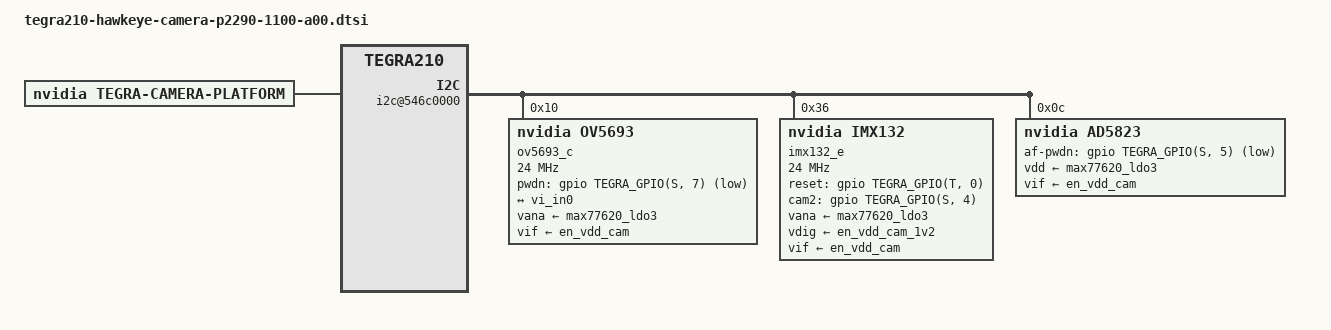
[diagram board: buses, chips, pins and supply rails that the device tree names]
/*
 * tegra210-hawkeye-camera-p2290-1100-a00.dtsi: Hawkeye camera dtsi.
 *
 * Copyright (c) 2014-2016, NVIDIA CORPORATION.  All rights reserved.
 *
 * This program is free software; you can redistribute it and/or modify
 * it under the terms of the GNU General Public License as published by
 * the Free Software Foundation; version 2 of the License.
 *
 * This program is distributed in the hope that it will be useful, but WITHOUT
 * ANY WARRANTY; without even the implied warranty of MERCHANTABILITY or
 * FITNESS FOR A PARTICULAR PURPOSE.  See the GNU General Public License for
 * more details.
 */

#include <dt-bindings/media/camera.h>

/ {
	host1x {
		vi {
			num-channels = <1>;
			ports {
				#address-cells = <1>;
				#size-cells = <0>;
				port@0 {
					reg = <0>;
					vi_in0: endpoint {
						csi-port = <2>;
						bus-width = <2>;
						remote-endpoint = <&ov5693_out0>;
					};
				};
			};
		};

		i2c@546c0000 {
			status = "okay";
			#address-cells = <1>;
			#size-cells = <0>;
			ov5693_c@10 {
				compatible = "nvidia,ov5693";
				/* I2C device address */
				reg = <0x10>;

				/* Physical dimensions of sensor */
				physical_w = "3.674";
				physical_h = "2.738";

				/* Sensor Model */
				sensor_model ="ov5693";

				/* Define any required hw resources needed by driver */
				/* ie. clocks, io pins, power sources */
				avdd-reg = "vana";
				iovdd-reg = "vif";


				/* Define any required hw resources needed by driver */
				/* ie. clocks, io pins, power sources */
				/* mclk-index indicates the index of the */
				/* mclk-name with in the clock-names array */

				clocks = <&tegra_car TEGRA210_CLK_ID_CLK_OUT_3>;
				clock-names = "mclk";
				clock-frequency = <24000000>;

				mclk = "cam_mclk1";
				pwdn-gpios = <&gpio TEGRA_GPIO(S, 7) GPIO_ACTIVE_LOW>;
				vana-supply = <&max77620_ldo3>;
				vif-supply = <&en_vdd_cam>;
				has-eeprom = <1>;

				/* Defines number of frames to be dropped by driver internally after applying */
				/* sensor crop settings. Some sensors send corrupt frames after applying */
				/* crop co-ordinates */
				post_crop_frame_drop = "0";

				/**
				* A modeX node is required to support v4l2 driver
				* implementation with NVIDIA camera software stack
				*
				* mclk_khz = "";
				* Standard MIPI driving clock, typically 24MHz
				*
				* num_lanes = "";
				* Number of lane channels sensor is programmed to output
				*
				* tegra_sinterface = "";
				* The base tegra serial interface lanes are connected to
				*
				* discontinuous_clk = "";
				* The sensor is programmed to use a discontinuous clock on MIPI lanes
				*
				* dpcm_enable = "true";
				* The sensor is programmed to use a DPCM modes
				*
				* cil_settletime = "";
				* MIPI lane settle time value.
				* A "0" value attempts to autocalibrate based on mclk_multiplier
				*
				*
				*
				*
				* active_w = "";
				* Pixel active region width
				*
				* active_h = "";
				* Pixel active region height
				*
				* pixel_t = "";
				* The sensor readout pixel pattern
				* For eg - 10 bit bayer having 'bggr' pixel pattern has value "bayer_bggr"
				*          12 bit bayer having 'bggr' pixel pattern has value "bayer_bggr12"
				*          14 bit bayer having 'bggr' pixel pattern has value "bayer_bggr14"
				*
				* readout_orientation = "0";
				* Based on camera module orientation.
				* Only change readout_orientation if you specifically
				* Program a different readout order for this mode
				*
				* line_length = "";
				* Pixel line length (width) for sensor mode.
				* This is used to calibrate features in our camera stack.
				*
				* mclk_multiplier = "";
				* Multiplier to MCLK to help time hardware capture sequence
				* TODO: Assign to PLL_Multiplier as well until fixed in core
				*
				* pix_clk_hz = "";
				* Sensor pixel clock used for calculations like exposure and framerate
				*
				*
				*
				*
				* inherent_gain = "";
				* Gain obtained inherently from mode (ie. pixel binning)
				*
				* min_gain_val = ""; (floor to 6 decimal places)
				* max_gain_val = ""; (floor to 6 decimal places)
				* Gain limits for mode
				*
				* min_exp_time = ""; (ceil to integer)
				* max_exp_time = ""; (ceil to integer)
				* Exposure Time limits for mode (us)
				*
				*
				* min_hdr_ratio = "";
				* max_hdr_ratio = "";
				* HDR Ratio limits for mode
				*
				* min_framerate = "";
				* max_framerate = "";
				* Framerate limits for mode (fps)
				*
				* embedded_metadata_height = "";
				* Sensor embedded metadata height in units of rows.
				* If sensor does not support embedded metadata value should be 0.
				*/
				mode0 { // OV5693_MODE_2592X1944
					mclk_khz = "24000";
					num_lanes = "2";
					tegra_sinterface = "serial_c";
					discontinuous_clk = "no";
					dpcm_enable = "false";
					cil_settletime = "0";

					active_w = "2592";
					active_h = "1944";
					pixel_t = "bayer_bggr";
					readout_orientation = "90";
					line_length = "2688";
					inherent_gain = "1";
					mclk_multiplier = "17.0";
					pix_clk_hz = "160000000";

					min_gain_val = "1.0";
					max_gain_val = "16";
					min_hdr_ratio = "1";
					max_hdr_ratio = "64";
					min_framerate = "1.816577";
					max_framerate = "30";
					min_exp_time = "34";
					max_exp_time = "550385";
					embedded_metadata_height = "0";
				};

				mode1 { //OV5693_MODE_2592X1458
					mclk_khz = "24000";
					num_lanes = "2";
					tegra_sinterface = "serial_c";
					discontinuous_clk = "no";
					dpcm_enable = "false";
					cil_settletime = "0";

					active_w = "2592";
					active_h = "1458";
					pixel_t = "bayer_bggr";
					readout_orientation = "90";
					line_length = "2688";
					inherent_gain = "1";
					mclk_multiplier = "17.0";
					pix_clk_hz = "160000000";

					min_gain_val = "1.0";
					max_gain_val = "16";
					min_hdr_ratio = "1";
					max_hdr_ratio = "64";
					min_framerate = "1.816577";
					max_framerate = "30";
					min_exp_time = "34";
					max_exp_time = "550385";
					embedded_metadata_height = "0";
				};

				mode2 { //OV5693_MODE_1280X720
					mclk_khz = "24000";
					num_lanes = "2";
					tegra_sinterface = "serial_c";
					discontinuous_clk = "no";
					dpcm_enable = "false";
					cil_settletime = "0";

					active_w = "1280";
					active_h = "720";
					pixel_t = "bayer_bggr";
					readout_orientation = "90";
					line_length = "1752";
					inherent_gain = "1";
					mclk_multiplier = "17.0";
					pix_clk_hz = "160000000";

					min_gain_val = "1.0";
					max_gain_val = "16";
					min_hdr_ratio = "1";
					max_hdr_ratio = "64";
					min_framerate = "2.787078";
					max_framerate = "120";
					min_exp_time = "22";
					max_exp_time = "358733";
					embedded_metadata_height = "0";
				};

				// HDR Modes
				mode3 { //OV5693_MODE_2592X1944_HDR
					mclk_khz = "24000";
					num_lanes = "2";
					tegra_sinterface = "serial_c";
					discontinuous_clk = "no";
					dpcm_enable = "false";
					cil_settletime = "0";

					active_w = "2592";
					active_h = "1944";
					pixel_t = "hdr_bggr";
					readout_orientation = "90";
					line_length = "3696";
					inherent_gain = "1";
					mclk_multiplier = "19.0";
					pix_clk_hz = "176000000";

					min_gain_val = "1.0";
					max_gain_val = "16";
					min_hdr_ratio = "1";
					max_hdr_ratio = "64";
					min_framerate = "1.453262";
					max_framerate = "24";
					min_exp_time = "42";
					max_exp_time = "687981";
					embedded_metadata_height = "0";
				};

				ports {
					#address-cells = <1>;
					#size-cells = <0>;

					port@0 {
						reg = <0>;
						ov5693_out0: endpoint {
							csi-port = <2>;
							bus-width = <2>;
							remote-endpoint = <&vi_in0>;
						};
					};
				};
			};
			imx132_e@36 {
				compatible = "nvidia,imx132";

				/* I2C device address */
				reg = <0x36>;

				avdd = "vana";
				dvdd = "vdig";
				iovdd = "vif";

				clocks = <&tegra_car TEGRA210_CLK_ID_CLK_OUT_3>;
				clock-names = "mclk";
				clock-frequency = <24000000>;

				mclk = "cam_mclk1";
				vana-supply = <&max77620_ldo3>;
				vdig-supply = <&en_vdd_cam_1v2>;
				vif-supply = <&en_vdd_cam>;
				reset-gpios = <&gpio TEGRA_GPIO(T, 0) 0>;
				cam2-gpios = <&gpio TEGRA_GPIO(S, 4) 0>;

				/* sensor capabilities */
				cap-version = <0x34340002>;
				cap-identifier = "IMX132";
				cap-sensor_nvc_interface = <3>;
				cap-pixel_types = <0x100>;
				cap-orientation = <3>;
				cap-direction = <1>;
				cap-initial_clock_rate_khz = <6000>;
				cap-h_sync_edge = <0>;
				cap-v_sync_edge = <0>;
				cap-mclk_on_vgp0 = <0>;
				cap-csi_port = <1>;
				cap-data_lanes = <2>;
				cap-virtual_channel_id = <0>;
				cap-discontinuous_clk_mode = <1>;
				cap-cil_threshold_settle = <0>;
				cap-min_blank_time_width = <16>;
				cap-min_blank_time_height = <16>;
				cap-preferred_mode_index = <0>;
				cap-external_clock_khz_0 = <24000>;
				cap-clock_multiplier_0 = <8000000>;
				cap-external_clock_khz_1 = <0>;
				cap-clock_multiplier_1 = <0>;
				cap-hdr-enabled;
			};
			ad5823@c {
				compatible = "nvidia,ad5823";

				/* I2C device address */
				reg = <0xc>;

				vdd-supply = <&max77620_ldo3>;
				vif-supply = <&en_vdd_cam>;
				af-pwdn-gpios = <&gpio TEGRA_GPIO(S, 5) 1>;
				support_mfi = "true";
			};
		};
	};

	tegra-camera-platform {
		compatible = "nvidia, tegra-camera-platform";

		/**
		* The general guideline for naming badge_info contains 3 parts, and is as follows,
		* The first part is the camera_board_id for the module; if the module is in a FFD
		* platform, then use the platform name for this part.
		* The second part contains the position of the module, ex. “rear” or “front”.
		* The third part contains the last 6 characters of a part number which is found
		* in the module's specsheet from the vender.
		*/
		modules {
			module0 {
				badge = "hawkeye_a00_rear_5BA508T2";
				position = "rear";
				orientation = "1";
				drivernode0 {
					/* Declare PCL support driver (classically known as guid)  */
					pcl_id = "v4l2_sensor";
					/* Driver's v4l2 device name */
					devname = "ov5693 6-0010";
					/* Declare the device-tree hierarchy to driver instance */
					proc-device-tree = "/proc/device-tree/host1x/i2c@546c0000/ov5693_c@10";
				};
				drivernode1 {
					/* Declare PCL support driver (classically known as guid)  */
					pcl_id = "v4l2_focuser_stub";
				};
				drivernode2 {
					/* Declare PCL support driver (classically known as guid)  */
					pcl_id = "f_AD5823";
				};
			};
			module1 {
				badge = "hawkeye_a00_front_D2N05A";
				position = "front";
				orientation = "3";
				drivernode0 {
					/* Declare PCL support driver (classically known as guid)  */
					pcl_id = "s_IMX132";
				};
			};
		};
	};
};

